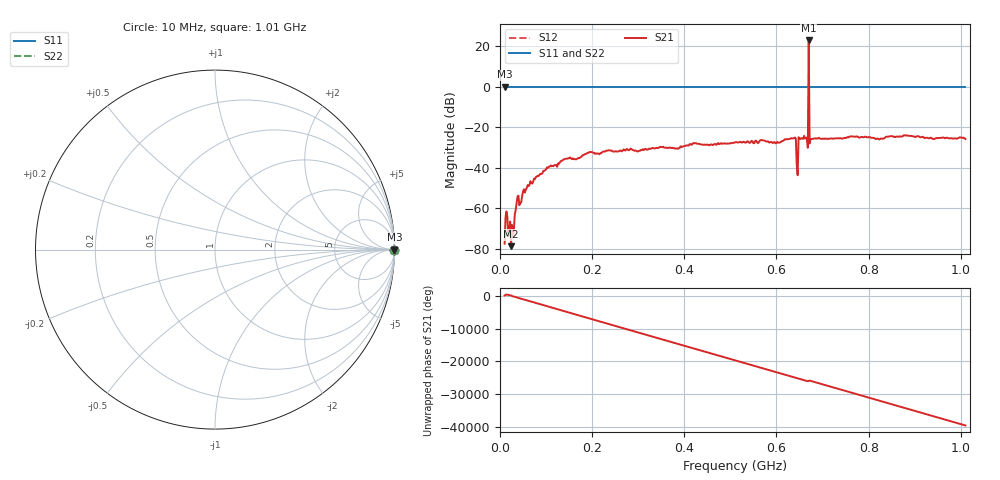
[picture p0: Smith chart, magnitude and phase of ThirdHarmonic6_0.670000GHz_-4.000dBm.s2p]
! 8/15/2025 10:17:36 PM
! C:\ANRITSUVNA\TEMP\TEMP.S2P
! CHANNEL.1
! TR.MEASUREMENT
! RAW.DATA
! RF.CORRECTION.OFF
! AVERAGING.OFF
! IF.BANDWIDTH: 5KHZ
! SWEEPTYPE:  FREQ.SWEEP(Linear)
! Reference Plane Port Info
! PORT:  PORT1  PORT2
! DISTANCE:  0  m  0  m
! TIME:  0  s  0  s
! PHASE.OFFSET:  0  deg.  0  deg.
! LOSS:  0  dB  0  dB
! REF.LOSS:  0  dB  0  dB
! REF.FREQ:  0  Hz  0  Hz
! Power Info
! POWER:  -20  dBm  -20  dBm
! EFF.POWER:  -20  dBm  -20  dBm
! SOURCE.ATTEN:  0  dB  0  dB
! TEST.ATTEN:  0  dB  0  dB
# GHZ S RI R 50.0
! FREQ.GHZ  S11RE  S11IM  S21RE  S21IM  S12RE  S12IM  S22RE  S22IM
!; PortSelection: Port_12
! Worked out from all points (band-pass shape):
!   501 points, 10 MHz to 1.01 GHz, reference 50 ohm
!   highest |S21| = 22.88 dB at 670 MHz (marker M1); lowest = -78.8 dB at 24 MHz (marker M2)
!   |S21| within 3 dB of the highest: 669.8869 MHz to 670.1179 MHz (231 kHz wide, 0.0345 % of centre)
!   lowest |S11| = 0.0 dB at 10 MHz (marker M3)
!   |S11| at or under -10 dB: nowhere
!   |S22| runs from 0.0 to 0.0 dB; largest |S21 - S12| = 13
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0.01  1 0  0.000121 5.28e-05  1 0  1 0
0.016  1 0  0.000239 -0.000556  1 0  1 0
0.024  1 0  0.000112 2.64e-05  1 0  1 0
0.028  1 0  -5.17e-05 0.000195  1 0  1 0
0.036  1 0  -0.00126 -0.000301  1 0  1 0
0.064  1 0  -0.00262 0.00268  1 0  1 0
0.106  1 0  -0.00759 -0.00727  1 0  1 0
0.178  1 0  -0.0192 -0.004  1 0  1 0
0.344  1 0  0.0299 -0.00832  1 0  1 0
0.51  1 0  -0.0385 0.0174  1 0  1 0
0.638  1 0  0.0324 0.0426  1 0  1 0
0.642  1 0  -0.0175 -0.0497  1 0  1 0
0.648  1 0  0.0568 0.0034  1 0  1 0
0.652  1 0  -0.0467 -0.0213  1 0  1 0
0.664  1 0  0.00837 0.0529  1 0  1 0
0.666  1 0  0.0554 0.000533  1 0  1 0
0.67  1 0  13.33 4.072  1 0  1 0
0.674  1 0  0.0408 0.03  1 0  1 0
0.676  1 0  0.0373 -0.0353  1 0  1 0
0.678  1 0  -0.0275 -0.0437  1 0  1 0
0.844  1 0  0.0475 0.035  1 0  1 0
1.01  1 0  -0.0509 -0.00446  1 0  1 0
